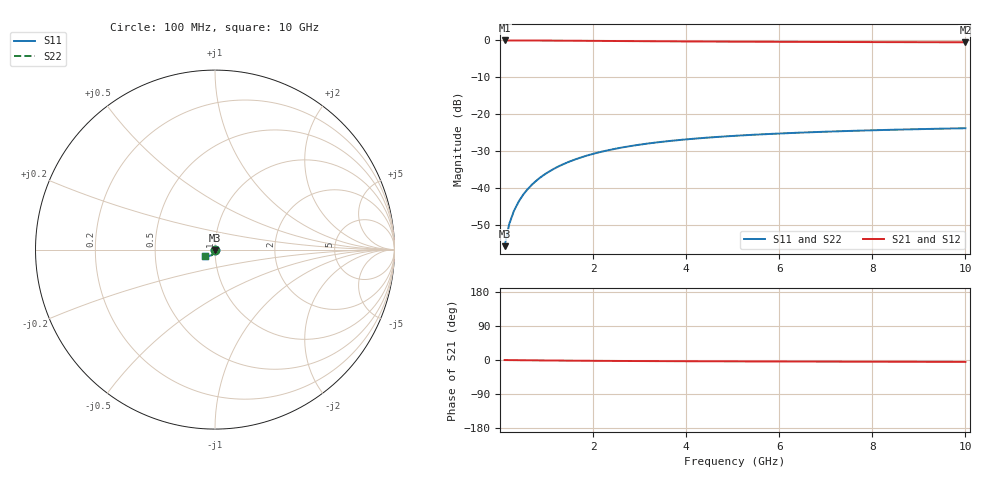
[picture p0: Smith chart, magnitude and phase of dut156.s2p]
! Touchstone file exported from HFSS 2024.1.0
!  File:  C:/UserFiles/LocalFiles/RDL_TSV_Batchsim/temp_TSV1_156_1779381777.aedt
!  Generated:  12:47:48 AM May 22, 2026
!  Design:  TSV1
!  Project:  temp_TSV1_156_1779381777
!  Setup:  Setup1
!  Solution:  Sweep
! Variables:
!  dtsv = 13.67um
!  hbump = 3um
!  htsv = 73.97um
!  lrdl = 252.1521522um
!  p = 40
!  p1 = 40.79um
!  t = 500um
!  trdl = 3um
!  wrdl = 24.89489489um
# GHz S MA R 50.000000
! Terminal data exported
! Port[1] = TSV22_T1
! Port[2] = TSV22_T2
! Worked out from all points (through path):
!   100 points, 100 MHz to 10 GHz, reference 50 ohm
!   highest |S21| = 0.00 dB at 100 MHz (marker M1); lowest = -0.5 dB at 10 GHz (marker M2)
!   lowest |S11| = -55.6 dB at 100 MHz (marker M3), VSWR 1.00, Z = 50 - j0.165 ohm
!   |S11| at or under -10 dB: start of sweep to end of sweep
!   |S22| runs from -55.6 to -23.7 dB; largest |S21 - S12| = 2.7e-15
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0.1  0.001655 -88.4  0.9999 -0.1  0.9999 -0.1  0.001655 -88.4
! Gamma 0 0 0 0
! Port Impedance 50 0 50 0
0.2  0.003308 -91.5  0.9997 -0.3  0.9997 -0.3  0.003308 -91.5
0.3  0.004959 -93.5  0.9995 -0.4  0.9995 -0.4  0.004959 -93.5
0.4  0.006603 -95.2  0.9992 -0.5  0.9992 -0.5  0.006603 -95.2
0.5  0.008233 -96.7  0.9989 -0.6  0.9989 -0.6  0.008233 -96.7
0.6  0.009847 -98.2  0.9984 -0.8  0.9984 -0.8  0.009847 -98.2
0.7  0.01144 -99.6  0.9979 -0.9  0.9979 -0.9  0.01144 -99.6
0.8  0.01301 -101.0  0.9973 -1.0  0.9973 -1.0  0.01301 -101.0
0.9  0.01455 -102.4  0.9967 -1.1  0.9967 -1.1  0.01455 -102.4
1.1  0.01754 -105.0  0.9952 -1.3  0.9952 -1.3  0.01754 -105.0
1.4  0.02178 -108.8  0.9928 -1.6  0.9928 -1.6  0.02178 -108.8
1.6  0.02443 -111.2  0.991 -1.8  0.991 -1.8  0.02443 -111.2
1.8  0.02693 -113.4  0.9891 -2.0  0.9891 -2.0  0.02693 -113.4
2.1  0.0304 -116.6  0.9863 -2.2  0.9863 -2.2  0.0304 -116.6
2.5  0.03453 -120.4  0.9826 -2.5  0.9826 -2.5  0.03453 -120.4
2.9  0.03815 -123.7  0.9789 -2.7  0.9789 -2.7  0.03815 -123.7
3.4  0.04204 -127.4  0.9747 -3.0  0.9747 -3.0  0.04204 -127.4
4.2  0.04712 -132.2  0.9687 -3.3  0.9687 -3.3  0.04712 -132.2
5.1  0.0516 -136.4  0.963 -3.6  0.963 -3.6  0.0516 -136.4
6.7  0.05749 -141.9  0.9552 -4.1  0.9552 -4.1  0.05749 -141.9
8.4  0.06194 -146.1  0.9491 -4.6  0.9491 -4.6  0.06194 -146.1
10  0.06506 -149.0  0.945 -5.0  0.945 -5.0  0.06506 -149.0
